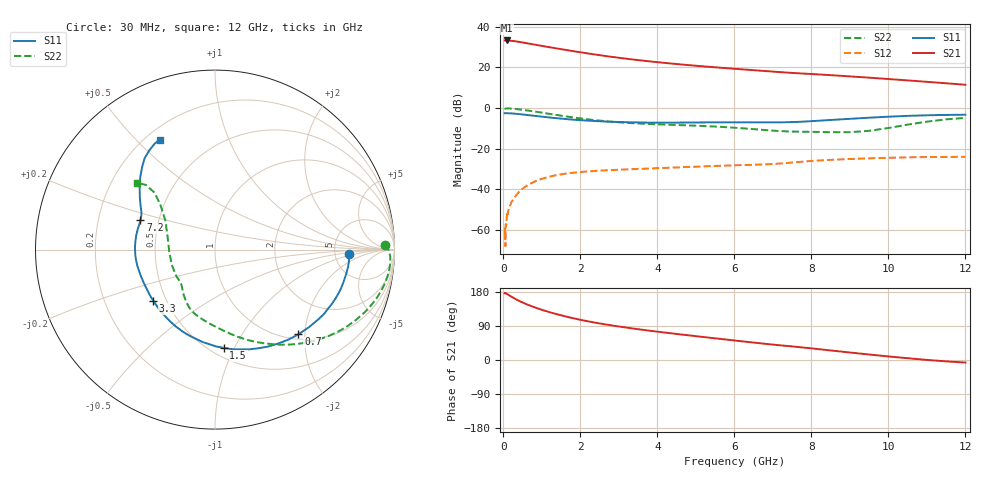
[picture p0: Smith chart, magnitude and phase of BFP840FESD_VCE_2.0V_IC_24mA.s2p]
! Infineon Technologies  Discrete & RF Semiconductors
! BFP840FESD
! VCE =  2.0 V,  IC =  24 mA
! Common Emitter S-Parameters:  May 2012
# GHz  S  MA  R  50
!  f  S11  S21  S12  S22
! GHz  MAG  ANG  MAG  ANG  MAG  ANG  MAG  ANG
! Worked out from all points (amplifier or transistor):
!   103 points, 30 MHz to 12 GHz, reference 50 ohm
!   highest |S21| = 33.3 dB at 80 MHz (marker M1)
!   |S21| within 3 dB of that: start of sweep to 1.094 GHz
!   unconditionally stable (mu >= 1): 47.42 MHz to 52.76 MHz; 5.692 GHz to end of sweep
!   at 400 MHz: K = 0.19, MSG = 37.0 dB, |S12| = -41.3 dB
!   at 3.7 GHz: K = 0.77, MSG = 26.5 dB, |S12| = -29.8 dB
!   at 12 GHz: K = 1.08, MAG = 16.0 dB, |S12| = -24.0 dB
!   S11 on the Smith chart (normalised r, x): 30 MHz: 6.78, -0.80; 700 MHz: 1.10, -1.85; 1.5 GHz: 0.58, -0.91; 3.3 GHz: 0.42, -0.30; 7.2 GHz: 0.39, +0.16; 12 GHz: 0.25, +0.59
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0.03  0.7459 -2.0  45.79 176.2  0.0008 95.6  0.9466 1.7
0.04  0.7478 -2.7  45.86 175.7  0.0011 82.0  0.9584 0.9
0.05  0.7464 -3.6  45.91 176.7  0.0004 36.1  0.9637 0.2
0.06  0.7486 -4.3  45.92 176.1  0.0014 53.2  0.969 -0.6
0.08  0.7489 -5.6  46.11 174.9  0.0014 75.5  0.976 -2.0
0.25  0.7338 -17.7  44.73 164.6  0.0056 78.2  0.9638 -11.6
0.35  0.7192 -24.4  43.33 158.9  0.0075 76.0  0.9426 -16.3
0.5  0.6955 -33.8  41.05 151.6  0.0104 70.8  0.905 -22.6
0.7  0.6624 -45.4  37.98 143.1  0.0138 66.5  0.851 -30.2
1  0.6153 -61.5  33.84 132.4  0.0182 59.5  0.7706 -40.2
1.3  0.5732 -76.0  30.25 123.2  0.0216 53.6  0.6956 -49.1
1.5  0.5494 -84.9  28.13 117.9  0.0234 50.5  0.65 -54.6
1.8  0.5203 -97.3  25.26 110.5  0.0256 46.4  0.5905 -62.2
2.1  0.4973 -108.1  22.82 104.0  0.0272 43.1  0.5422 -69.1
2.6  0.4694 -123.3  19.4 94.7  0.0291 39.6  0.4815 -78.8
3.3  0.4468 -140.3  15.93 84.0  0.0313 37.4  0.4281 -90.0
4.1  0.4383 -155.8  13.18 73.6  0.0335 36.7  0.3953 -100.1
6.1  0.4454 175.2  9.127 50.4  0.0393 36.5  0.3236 -120.7
7.2  0.4462 158.5  7.656 38.7  0.0433 39.4  0.2715 -133.6
8.5  0.5095 145.3  6.455 25.2  0.0533 37.0  0.2551 -161.6
10.5  0.6433 127.5  4.796 4.7  0.0613 29.0  0.3919 140.8
12  0.6859 116.6  3.747 -6.7  0.0632 25.6  0.5734 139.6
